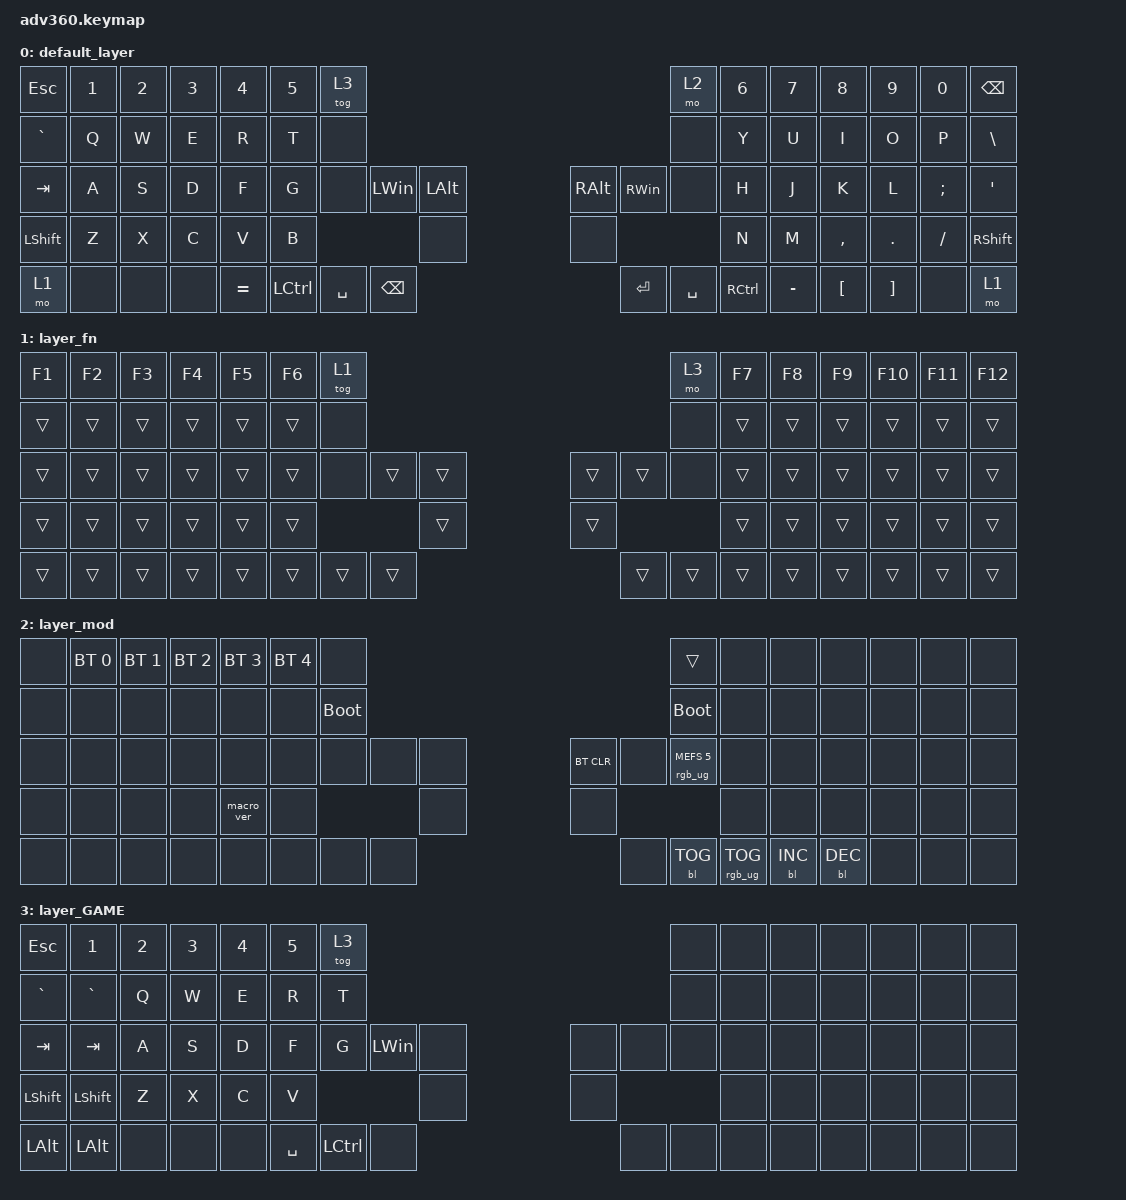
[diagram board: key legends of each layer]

/*
 * Copyright (c) 2020 The ZMK Contributors
 *
 * SPDX-License-Identifier: MIT
 */


/* THIS FILE WAS GENERATED!
 *
 * This file was generated automatically. You may or may not want to
 * edit it directly.
 */

#include <behaviors.dtsi>
#include <dt-bindings/zmk/keys.h>
#include <dt-bindings/zmk/bt.h>
#include <dt-bindings/zmk/rgb.h>
#include <dt-bindings/zmk/backlight.h>

/ {
  behaviors {
    #include "macros.dtsi"
    #include "version.dtsi"

    hm: homerow_mods {
        compatible = "zmk,behavior-hold-tap";
        label = "HOMEROW_MODS";
        #binding-cells = <2>;
        tapping-term-ms = <200>;
        quick_tap_ms = <175>;
        flavor = "tap-preferred";
        bindings = <&kp>, <&kp>;
    };
  };

    keymap {
        compatible = "zmk,keymap";


        default_layer {
            bindings = <
   &kp ESC  &kp N1  &kp N2  &kp N3     &kp N4  &kp N5               &tog 3                                                                                 &mo 2  &kp N6     &kp N7            &kp N8             &kp N9    &kp N0  &kp BACKSPACE
 &kp GRAVE   &kp Q   &kp W   &kp E      &kp R   &kp T                &none                                                                                 &none   &kp Y      &kp U             &kp I              &kp O     &kp P       &kp BSLH
   &kp TAB   &kp A   &kp S   &kp D      &kp F   &kp G                &none  &kp LEFT_WIN       &kp LALT                  &kp RIGHT_ALT  &kp RIGHT_WIN      &none   &kp H      &kp J             &kp K              &kp L  &kp SEMI        &kp SQT
 &kp LSHFT   &kp Z   &kp X   &kp C      &kp V   &kp B                                             &none                          &none                             &kp N      &kp M         &kp COMMA            &kp DOT  &kp FSLH      &kp RSHFT
     &mo 1   &none   &none   &none  &kp EQUAL                    &kp LCTRL     &kp SPACE  &kp BACKSPACE                      &kp ENTER      &kp SPACE  &kp RCTRL          &kp MINUS  &kp LEFT_BRACKET  &kp RIGHT_BRACKET     &none          &mo 1
            >;
        };

        layer_fn {
            bindings = <
 &kp F1  &kp F2  &kp F3  &kp F4  &kp F5  &kp F6            &tog 1                                                   &mo 3  &kp F7  &kp F8  &kp F9  &kp F10  &kp F11  &kp F12
 &trans  &trans  &trans  &trans  &trans  &trans             &none                                                   &none  &trans  &trans  &trans   &trans   &trans   &trans
 &trans  &trans  &trans  &trans  &trans  &trans             &none  &trans  &trans                  &trans  &trans   &none  &trans  &trans  &trans   &trans   &trans   &trans
 &trans  &trans  &trans  &trans  &trans  &trans                            &trans                  &trans                  &trans  &trans  &trans   &trans   &trans   &trans
 &trans  &trans  &trans  &trans  &trans                    &trans  &trans  &trans                  &trans  &trans  &trans          &trans  &trans   &trans   &trans   &trans
            >;
        };

        layer_mod {
            bindings = <
  &none  &bt BT_SEL 0  &bt BT_SEL 1  &bt BT_SEL 2  &bt BT_SEL 3  &bt BT_SEL 4                  &none                                                                          &trans   &none       &none       &none   &none   &none   &none
  &none         &none         &none         &none         &none         &none            &bootloader                                                                     &bootloader   &none       &none       &none   &none   &none   &none
  &none         &none         &none         &none         &none         &none                  &none   &none   &none                  &bt BT_CLR       &none  &rgb_ug RGB_MEFS_CMD 5   &none       &none       &none   &none   &none   &none
  &none         &none         &none         &none    &macro_ver         &none                                  &none                       &none                                       &none       &none       &none   &none   &none   &none
  &none         &none         &none         &none         &none                                &none   &none   &none                       &none  &bl BL_TOG         &rgb_ug RGB_TOG          &bl BL_INC  &bl BL_DEC   &none   &none   &none
            >;
        };

        layer_GAME {
            bindings = <
        &kp ESC    &kp NUMBER_1  &kp NUMBER_2  &kp NUMBER_3  &kp NUMBER_4  &kp NUMBER_5               &tog 3                                                         &none   &none   &none   &none   &none   &none   &none
      &kp GRAVE       &kp GRAVE         &kp Q         &kp W         &kp E         &kp R                &kp T                                                         &none   &none   &none   &none   &none   &none   &none
        &kp TAB         &kp TAB         &kp A         &kp S         &kp D         &kp F                &kp G  &kp LEFT_WIN   &none                   &none   &none   &none   &none   &none   &none   &none   &none   &none
 &kp LEFT_SHIFT  &kp LEFT_SHIFT         &kp Z         &kp X         &kp C         &kp V                                      &none                   &none                   &none   &none   &none   &none   &none   &none
   &kp LEFT_ALT    &kp LEFT_ALT         &none         &none         &none                          &kp SPACE     &kp LCTRL   &none                   &none   &none   &none           &none   &none   &none   &none   &none
            >;
        };

    };
};
